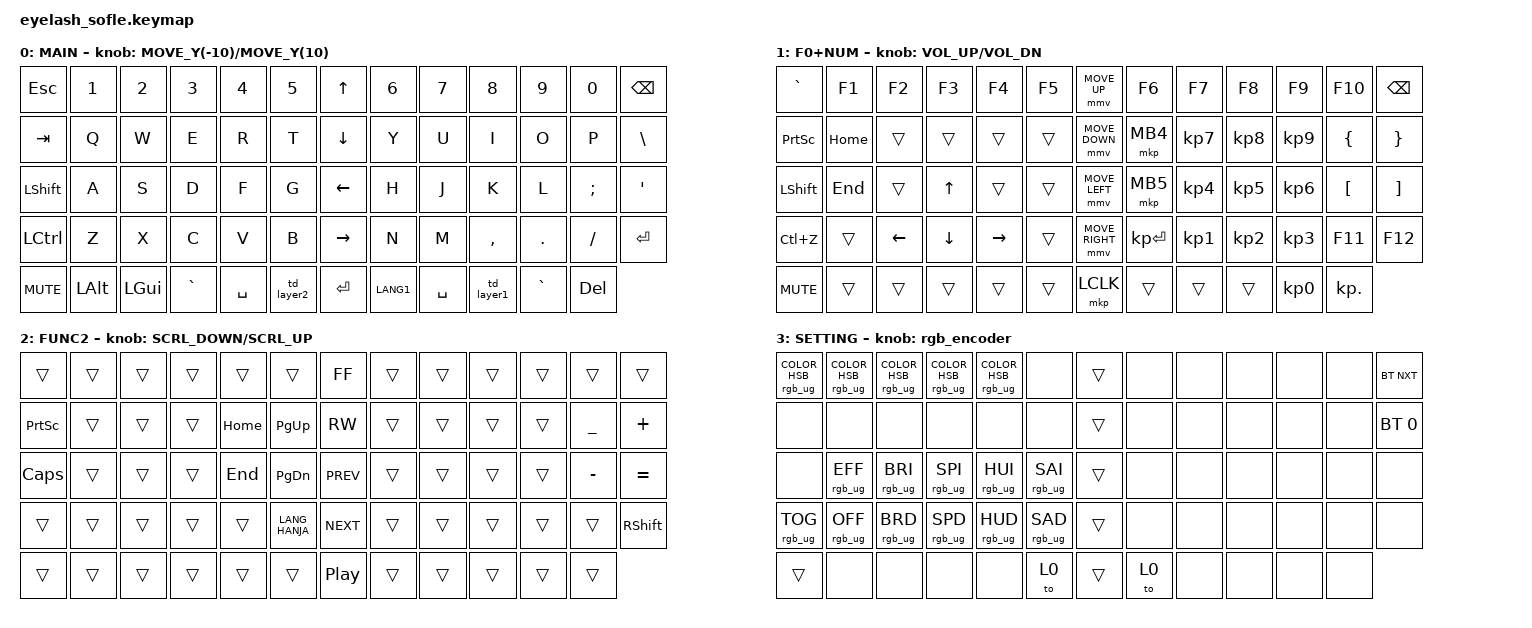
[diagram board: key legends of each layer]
#include <behaviors/mouse_keys.dtsi>
#include <dt-bindings/zmk/mouse.h>
#include <behaviors.dtsi>
#include <dt-bindings/zmk/bt.h>
#include <dt-bindings/zmk/keys.h>
#include <dt-bindings/zmk/pointing.h>
#include <dt-bindings/zmk/rgb.h>

#define ZMK_MOUSE_DEFAULT_MOVE_VAL 1000  // 600
#define ZMK_MOUSE_DEFAULT_SCRL_VAL 20    // 10
#define U_MS_U &mmv MOVE_UP
#define U_MS_D &mmv MOVE_DOWN
#define U_MS_L &mmv MOVE_LEFT
#define U_MS_R &mmv MOVE_RIGHT
#define ZMK_MOUSE_DEFAULT_MOVE_VAL 1000  // 600
#define ZMK_MOUSE_DEFAULT_SCRL_VAL 20    // 10

&mt { tapping-term-ms = <250>; };

/ {
    behaviors {
        mmv {
            acceleration-exponent = <1>;      // 1
            time-to-max-speed-ms = <900>;    // 40
            delay-ms = <0>;                   // 0
        };

        msc {
            acceleration-exponent = <1>;      // 0
            time-to-max-speed-ms = <400>;      // 500
            delay-ms = <0>;                   //   10
        };

        tog_on: toggle_layer_on_only {
            compatible = "zmk,behavior-toggle-layer";
            #binding-cells = <1>;
            display-name = "Toggle Layer On";
            toggle-mode = "on";
        };

        scroll_encoder: scroll_encoder {
            compatible = "zmk,behavior-sensor-rotate";
            #sensor-binding-cells = <0>;
            bindings = <&msc SCRL_DOWN>, <&msc SCRL_UP>;

            tap-ms = <5>;
            label = "SCROLL_ENCODER";
        };

        rgb_encoder: rgb_encoder {
            compatible = "zmk,behavior-sensor-rotate";
            #sensor-binding-cells = <0>;
            bindings = <&rgb_ug RGB_BRI>, <&rgb_ug RGB_BRD>;
        };

        td_layer1: td_layer1 {
            compatible = "zmk,behavior-tap-dance";
            label = "TD_LAYER1";
            #binding-cells = <0>;
            bindings = <&mo 1>, <&to 1>, <&to 0>;

            tapping-term-ms = <400>;
        };

        td_layer2: td_layer2 {
            compatible = "zmk,behavior-tap-dance";
            label = "TD_LAYER2";
            #binding-cells = <0>;
            bindings = <&mo 2>, <&to 2>, <&to 0>;

            tapping-term-ms = <400>;
        };

        rotate_sensor: rotate_sensor {
            compatible = "zmk,behavior-sensor-rotate-var";
            label = "ROTATE_SENSOR";
            #sensor-binding-cells = <2>;
            bindings = <&msc>, <&msc>;
        };
    };

    combos {
        compatible = "zmk,combos";

        combo_layer_0 {
            bindings = <&to 0>;
            key-positions = <57 46>;
            timeout-ms = <500>;
            require-prior-idle-ms = <250>;
        };

        combo_layer_1 {
            bindings = <&to 1>;
            key-positions = <57 47>;
            timeout-ms = <500>;
            require-prior-idle-ms = <250>;
        };

        combo_layer_2 {
            bindings = <&to 2>;
            key-positions = <57 48>;
            timeout-ms = <500>;
            require-prior-idle-ms = <250>;
        };

        combo_layer_3 {
            bindings = <&to 3>;
            key-positions = <57 49>;
            timeout-ms = <500>;
            require-prior-idle-ms = <250>;
        };

        combo_sleep {
            bindings = <&soft_off>;
            key-positions = <0 12>;
        };
    };

    keymap {
        compatible = "zmk,keymap";

        MAIN {
            bindings = <
&kp ESC     &kp N1    &kp N2        &kp N3     &kp N4     &kp N5        &kp UP_ARROW     &kp N6     &kp N7     &kp N8      &kp N9     &kp N0      &kp BACKSPACE
&kp TAB     &kp Q     &kp W         &kp E      &kp R      &kp T         &kp DOWN_ARROW   &kp Y      &kp U      &kp I       &kp O      &kp P       &kp BSLH
&kp LSHIFT  &kp A     &kp S         &kp D      &kp F      &kp G         &kp LEFT_ARROW   &kp H      &kp J      &kp K       &kp L      &kp SEMI    &kp APOS
&kp LCTRL   &kp Z     &kp X         &kp C      &kp V      &kp B         &kp RIGHT_ARROW  &kp N      &kp M      &kp COMMA   &kp DOT    &kp FSLH    &kp ENTER
&kp C_MUTE  &kp LALT  &kp LEFT_GUI  &kp GRAVE  &kp SPACE  &td_layer2    &kp ENTER        &kp LANG1  &kp SPACE  &td_layer1  &kp GRAVE  &kp DELETE
            >;

            sensor-bindings = <&rotate_sensor MOVE_Y(-10) MOVE_Y(10)>;
            display-name = "MAIN";
        };

        F0+NUM {
            bindings = <
&kp GRAVE        &kp F1    &kp F2    &kp F3    &kp F4     &kp F5    &mmv MOVE_UP     &kp F6        &kp F7           &kp F8           &kp F9           &kp F10           &kp BACKSPACE
&kp PRINTSCREEN  &kp HOME  &trans    &trans    &trans     &trans    &mmv MOVE_DOWN   &mkp MB4      &kp KP_NUMBER_7  &kp KP_NUMBER_8  &kp KP_NUMBER_9  &kp LEFT_BRACE    &kp RIGHT_BRACE
&kp LEFT_SHIFT   &kp END   &trans    &kp UP    &trans     &trans    &mmv MOVE_LEFT   &mkp MB5      &kp KP_NUMBER_4  &kp KP_NUMBER_5  &kp KP_NUMBER_6  &kp LEFT_BRACKET  &kp RIGHT_BRACKET
&kp LC(Z)        &trans    &kp LEFT  &kp DOWN  &kp RIGHT  &trans    &mmv MOVE_RIGHT  &kp KP_ENTER  &kp KP_NUMBER_1  &kp KP_NUMBER_2  &kp KP_NUMBER_3  &kp F11           &kp F12
&kp C_MUTE       &trans    &trans    &trans    &trans     &trans    &mkp LCLK        &trans        &trans           &trans           &kp KP_NUMBER_0  &kp KP_DOT
            >;

            sensor-bindings = <&inc_dec_kp C_VOLUME_UP C_VOL_DN>;
            display-name = "F0+NUM";
        };

        FUNCTION {
            bindings = <
&trans           &trans  &trans  &trans  &trans    &trans            &kp C_FF          &trans  &trans  &trans  &trans  &trans     &trans
&kp PRINTSCREEN  &trans  &trans  &trans  &kp HOME  &kp PAGE_UP       &kp C_RW          &trans  &trans  &trans  &trans  &kp UNDER  &kp PLUS
&kp CAPSLOCK     &trans  &trans  &trans  &kp END   &kp PAGE_DOWN     &kp C_PREV        &trans  &trans  &trans  &trans  &kp MINUS  &kp EQUAL
&trans           &trans  &trans  &trans  &trans    &kp LANG_HANJA    &kp C_NEXT        &trans  &trans  &trans  &trans  &trans     &kp RSHIFT
&trans           &trans  &trans  &trans  &trans    &trans            &kp C_PLAY_PAUSE  &trans  &trans  &trans  &trans  &trans
            >;

            sensor-bindings = <&rotate_sensor SCRL_DOWN SCRL_UP>;
            label = "FUNC2";
        };

        SETTING {
            label = "SETTING";
            bindings = <
&rgb_ug RGB_COLOR_HSB(1,82,45)  &rgb_ug RGB_COLOR_HSB(179,61,64)  &rgb_ug RGB_COLOR_HSB(249,77,61)  &rgb_ug RGB_COLOR_HSB(215,39,65)  &rgb_ug RGB_COLOR_HSB(141,70,43)  &none              &trans  &none  &none  &none  &none  &none  &bt BT_NXT
&none                           &none                             &none                             &none                             &none                             &none              &trans  &none  &none  &none  &none  &none  &bt BT_SEL 0
&none                           &rgb_ug RGB_EFF                   &rgb_ug RGB_BRI                   &rgb_ug RGB_SPI                   &rgb_ug RGB_HUI                   &rgb_ug RGB_SAI    &trans  &none  &none  &none  &none  &none  &none
&rgb_ug RGB_TOG                 &rgb_ug RGB_OFF                   &rgb_ug RGB_BRD                   &rgb_ug RGB_SPD                   &rgb_ug RGB_HUD                   &rgb_ug RGB_SAD    &trans  &none  &none  &none  &none  &none  &none
&trans                          &none                             &none                             &none                             &none                             &to 0              &trans  &to 0  &none  &none  &none  &none
            >;

            sensor-bindings = <&rgb_encoder>;
        };
    };
};
